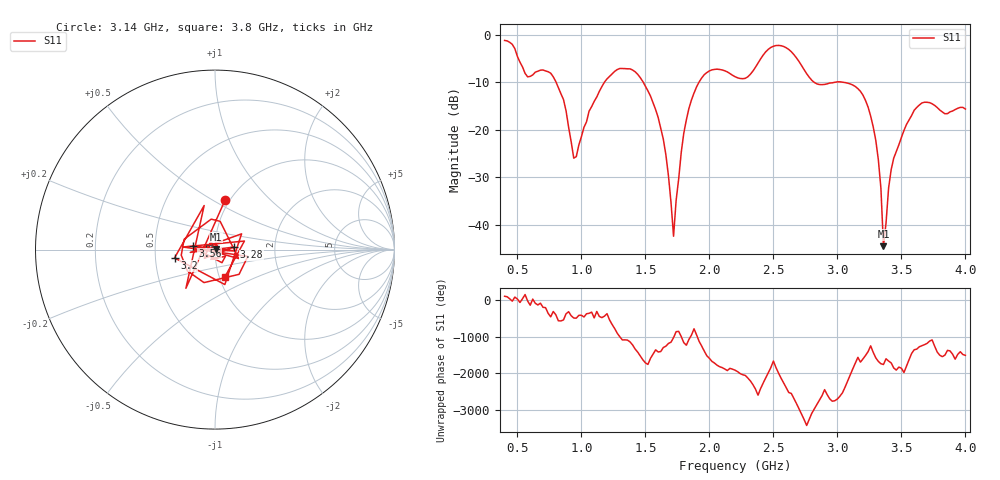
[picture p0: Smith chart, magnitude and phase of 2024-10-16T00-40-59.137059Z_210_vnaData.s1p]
! Created with skrf (http://scikit-rf.org).
# Hz S RI R 50.0
!freq ReS11 ImS11
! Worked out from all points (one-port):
!   181 points, 400 MHz to 4 GHz, reference 50 ohm
!   lowest |S11| = -44.5 dB at 3.36 GHz (marker M1), VSWR 1.01, Z = 50.5 + j0.374 ohm
!   |S11| at or under -10 dB: 801.7 MHz to 1.181 GHz (378.8 MHz wide, 38.2 % of centre); 1.482 GHz to 1.919 GHz (437 MHz wide, 25.7 % of centre); 3.037 GHz to end of sweep (the widest 3 of 4)
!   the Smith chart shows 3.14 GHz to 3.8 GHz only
!   S11 on the Smith chart (normalised r, x): 3.14 GHz: 0.95, +0.58; 3.2 GHz: 0.63, -0.06; 3.28 GHz: 1.24, +0.04; 3.56 GHz: 0.78, +0.03; 3.8 GHz: 1.07, -0.33
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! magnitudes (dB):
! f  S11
! 400 MHz  -1.2
! 580 MHz  -8.9
! 760 MHz  -8.1
! 860 MHz  -13.7
! 940 MHz  -26.0
! 1.06 GHz  -16.1
! 1.3 GHz  -7.1
! 1.44 GHz  -8.4
! 1.6 GHz  -17.5
! 1.66 GHz  -25.3
! 1.72 GHz  -42.4
! 1.76 GHz  -30.4
! 1.82 GHz  -18.0
! 1.92 GHz  -10.0
! 2.2 GHz  -8.9
! 2.5 GHz  -2.5
! 2.66 GHz  -4.2
! 2.84 GHz  -10.4
! 3.1 GHz  -10.4
! 3.14 GHz  -10.9
! 3.2 GHz  -12.8
! 3.28 GHz  -19.4
! 3.34 GHz  -32.4
! 3.36 GHz  -44.5
! 3.42 GHz  -28.5
! 3.56 GHz  -18.0
! 3.8 GHz  -15.9
! 4 GHz  -15.7
